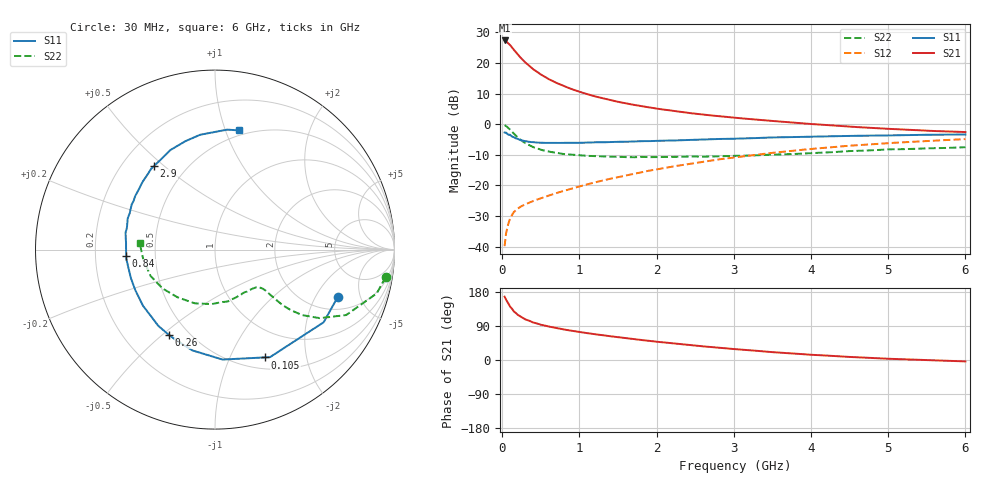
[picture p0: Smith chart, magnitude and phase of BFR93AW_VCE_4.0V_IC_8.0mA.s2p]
! Infineon Technologies  Discrete & RF Semiconductors
! BFR93AW
! VCE =  4.0 V,  IC =  8.0 mA
! Common Emitter S-Parameters:  Nov 2015
# GHz  S  MA  R  50
!  f  S11  S21  S12  S22
! GHz  MAG  ANG  MAG  ANG  MAG  ANG  MAG  ANG
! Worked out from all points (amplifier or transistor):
!   206 points, 30 MHz to 6 GHz, reference 50 ohm
!   highest |S21| = 27.3 dB at 30 MHz (marker M1)
!   |S21| within 3 dB of that: start of sweep to 148.5 MHz
!   unconditionally stable (mu >= 1): 808.2 MHz to 2.251 GHz
!   at 200 MHz: K = 0.42, MSG = 25.2 dB, |S12| = -27.6 dB
!   at 1.56 GHz: K = 1.07, MAG = 10.3 dB, |S12| = -17.0 dB
!   at 6 GHz: K = 0.91, MSG = 1.2 dB, |S12| = -4.9 dB
!   S11 on the Smith chart (normalised r, x): 30 MHz: 2.70, -3.10; 105 MHz: 0.64, -1.37; 260 MHz: 0.39, -0.53; 840 MHz: 0.34, -0.03; 2.9 GHz: 0.33, +0.46; 6 GHz: 0.46, +1.12
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0.03  0.7328 -21.3  23.26 167.1  0.0102 80.5  0.9632 -9.2
0.05  0.7282 -33.8  22.67 158.5  0.0169 74.6  0.9331 -15.2
0.1  0.6731 -62.9  19.68 141.2  0.0288 63.8  0.817 -26.5
0.105  0.6627 -65.0  19.31 140.1  0.0295 62.8  0.8046 -27.1
0.15  0.614 -86.1  16.38 128.2  0.0368 55.9  0.6976 -33.2
0.155  0.608 -87.6  16.11 127.4  0.0373 55.5  0.6885 -33.5
0.2  0.5758 -102.6  13.77 119.2  0.0419 52.3  0.6075 -36.9
0.24  0.5488 -113.4  12.08 113.9  0.0452 51.1  0.5514 -38.3
0.26  0.5407 -118.2  11.36 111.4  0.0466 50.6  0.5276 -38.8
0.3  0.5293 -126.7  10.12 107.0  0.0492 50.0  0.4886 -39.4
0.4  0.5087 -142.1  7.885 99.0  0.0557 51.2  0.4219 -39.3
0.5  0.4981 -153.2  6.467 93.0  0.0618 52.8  0.3813 -39.2
0.6  0.4949 -161.2  5.449 88.3  0.0681 55.0  0.3573 -39.0
0.84  0.4961 -175.8  3.99 79.2  0.0847 59.4  0.3225 -40.8
1.04  0.4978 175.2  3.26 72.7  0.0993 61.8  0.3084 -43.4
1.5  0.5164 160.2  2.317 60.1  0.1365 64.6  0.294 -52.8
2.02  0.5357 145.8  1.782 47.8  0.1851 64.7  0.2912 -66.5
2.9  0.5757 126.2  1.313 30.8  0.2755 60.2  0.3012 -91.0
3.1  0.5832 122.0  1.245 27.4  0.2963 58.5  0.3051 -97.2
4.1  0.629 103.7  0.987 12.8  0.4039 48.4  0.3411 -131.3
5.1  0.6578 89.2  0.828 2.6  0.4987 36.5  0.389 -160.7
6  0.6777 78.4  0.744 -3.7  0.5707 26.0  0.4209 175.3
